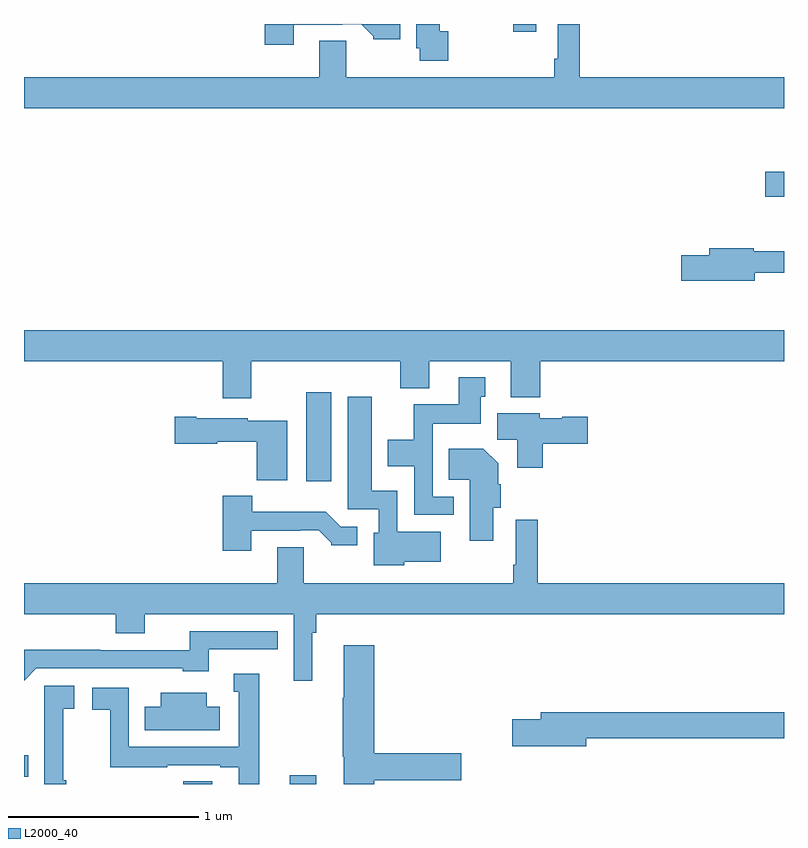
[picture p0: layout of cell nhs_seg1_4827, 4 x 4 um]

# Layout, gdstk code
import gdstk
lib = gdstk.Library(unit=1e-6, precision=1e-09)
def R(c, l, rs):  # rectangles x0, y0, x1, y1
    for r in rs: c.add(gdstk.rectangle(r[:2], r[2:], *l))
def P(c, l, *ps):  # polygons
    for p in ps: c.add(gdstk.Polygon(p, *l))
L2000_40 = (2000, 40)

nhs_seg1_4827 = lib.new_cell('nhs_seg1_4827')
R(nhs_seg1_4827, L2000_40, [(373.838,524.199,373.99,524.213), (374.399,524.199,374.539,524.245), (373,524.238,373.022,524.351), (374.486,525.792,374.617,526.261), (376.902,527.291,377,527.421), (375.575,528.159,375.697,528.199)])
P(nhs_seg1_4827, L2000_40, [(377,527.92),(375.926,527.92),(375.926,528.199),(375.81,528.199),(375.81,528.016),(375.79,528.016),(375.79,527.92),(374.695,527.92),(374.695,528.11),(374.555,528.11),(374.555,527.92),(373,527.92),(373,527.756),(377,527.756)],
  [(374.419,528.195),(374.675,528.195),(374.675,528.198),(374.774,528.198),(374.838,528.134),(374.838,528.119),(374.98,528.119),(374.98,528.199),(374.267,528.199),(374.267,528.09),(374.419,528.09)],
  [(375.234,528.162),(375.187,528.162),(375.187,528.199),(375.065,528.199),(375.065,528.072),(375.082,528.072),(375.082,528.006),(375.234,528.006)],
  [(376.846,526.89),(377,526.89),(377,527.003),(376.842,527.003),(376.842,527.018),(376.607,527.018),(376.607,526.982),(376.458,526.982),(376.458,526.847),(376.846,526.847)],
  [(374.197,526.424),(374.981,526.424),(374.981,526.283),(375.133,526.283),(375.133,526.424),(375.563,526.424),(375.563,526.235),(375.716,526.235),(375.716,526.424),(377,526.424),(377,526.588),(373,526.588),(373,526.424),(374.045,526.424),(374.045,526.23),(374.197,526.23)],
  [(375.262,525.711),(375.15,525.711),(375.15,526.094),(375.403,526.094),(375.403,526.236),(375.427,526.236),(375.427,526.339),(375.287,526.339),(375.287,526.198),(375.052,526.198),(375.052,526.012),(374.915,526.012),(374.915,525.872),(375.054,525.872),(375.054,525.615),(375.262,525.615)],
  [(375,525.368),(375.193,525.368),(375.193,525.526),(374.964,525.526),(374.964,525.742),(374.83,525.742),(374.83,526.237),(374.705,526.237),(374.705,525.645),(374.868,525.645),(374.868,525.522),(374.84,525.522),(374.84,525.35),(375,525.35)],
  [(375.731,525.989),(375.967,525.989),(375.967,526.131),(375.834,526.131),(375.834,526.123),(375.714,526.123),(375.714,526.15),(375.491,526.15),(375.491,526.012),(375.596,526.012),(375.596,525.864),(375.731,525.864)],
  [(374.386,526.111),(374.178,526.111),(374.178,526.123),(373.906,526.123),(373.906,526.131),(373.794,526.131),(373.794,525.989),(374.016,525.989),(374.016,526.001),(374.224,526.001),(374.224,525.797),(374.386,525.797)],
  [(375.469,525.654),(375.509,525.654),(375.509,525.776),(375.496,525.776),(375.496,525.886),(375.418,525.964),(375.235,525.964),(375.235,525.8),(375.347,525.8),(375.347,525.48),(375.469,525.48)],
  [(374.197,525.531),(374.453,525.531),(374.453,525.534),(374.552,525.534),(374.616,525.47),(374.616,525.455),(374.755,525.455),(374.755,525.552),(374.667,525.552),(374.589,525.631),(374.2,525.631),(374.2,525.715),(374.045,525.715),(374.045,525.426),(374.197,525.426)],
  [(374.518,524.996),(374.537,524.996),(374.537,525.092),(377,525.092),(377,525.256),(375.704,525.256),(375.704,525.589),(375.588,525.589),(375.588,525.352),(375.576,525.352),(375.576,525.256),(374.473,525.256),(374.473,525.446),(374.333,525.446),(374.333,525.256),(373,525.256),(373,525.092),(373.484,525.092),(373.484,524.993),(373.636,524.993),(373.636,525.092),(374.421,525.092),(374.421,524.742),(374.518,524.742)],
  [(373.065,524.808),(373.836,524.808),(373.836,524.792),(373.972,524.792),(373.972,524.907),(374.336,524.907),(374.336,525.003),(373.873,525.003),(373.873,524.904),(373.4,524.904),(373.4,524.906),(373,524.906),(373,524.743)],
  [(374.843,524.218),(375.301,524.218),(375.301,524.36),(374.843,524.36),(374.843,524.929),(374.684,524.929),(374.684,524.654),(374.677,524.654),(374.677,524.343),(374.684,524.343),(374.684,524.199),(374.843,524.199)],
  [(374.239,524.779),(374.105,524.779),(374.105,524.685),(374.13,524.685),(374.13,524.394),(373.551,524.394),(373.551,524.706),(373.359,524.706),(373.359,524.59),(373.453,524.59),(373.453,524.286),(373.754,524.286),(373.754,524.298),(374.033,524.298),(374.033,524.286),(374.129,524.286),(374.129,524.199),(374.239,524.199)],
  [(373.223,524.219),(373.206,524.219),(373.206,524.595),(373.264,524.595),(373.264,524.716),(373.106,524.716),(373.106,524.44),(373.107,524.44),(373.107,524.199),(373.223,524.199)],
  [(374.029,524.605),(373.963,524.605),(373.963,524.68),(373.721,524.68),(373.721,524.605),(373.636,524.605),(373.636,524.483),(374.029,524.483)],
  [(375.958,524.44),(377,524.44),(377,524.576),(375.719,524.576),(375.719,524.54),(375.57,524.54),(375.57,524.398),(375.958,524.398)])

lib.write_gds('nhs_seg1_4827.gds')
